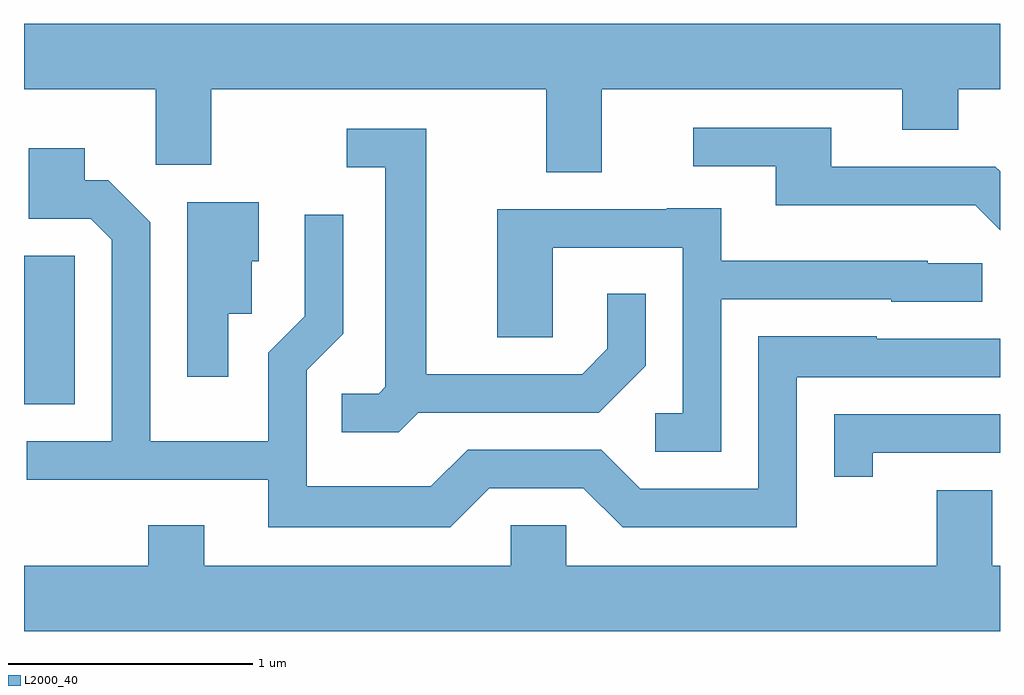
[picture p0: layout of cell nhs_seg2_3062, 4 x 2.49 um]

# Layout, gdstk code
import gdstk
lib = gdstk.Library(unit=1e-6, precision=1e-09)
def R(c, l, rs):  # rectangles x0, y0, x1, y1
    for r in rs: c.add(gdstk.rectangle(r[:2], r[2:], *l))
def P(c, l, *ps):  # polygons
    for p in ps: c.add(gdstk.Polygon(p, *l))
L2000_40 = (2000, 40)

nhs_seg2_3062 = lib.new_cell('nhs_seg2_3062')
R(nhs_seg2_3062, L2000_40, [(275.611,995.966,275.819,996.574)])
P(nhs_seg2_3062, L2000_40, [(277.979,997.256),(279.211,997.256),(279.211,997.091),(279.439,997.091),(279.439,997.256),(279.611,997.256),(279.611,997.524),(275.611,997.524),(275.611,997.256),(276.151,997.256),(276.151,996.946),(276.379,996.946),(276.379,997.256),(277.751,997.256),(277.751,996.916),(277.979,996.916)],
  [(279.611,996.92),(279.592,996.939),(278.919,996.939),(278.919,997.099),(278.353,997.099),(278.353,996.941),(278.691,996.941),(278.691,996.781),(279.509,996.781),(279.611,996.679)],
  [(277.227,995.931),(277.967,995.931),(278.159,996.124),(278.159,996.418),(278.001,996.418),(278.001,996.192),(277.899,996.089),(277.259,996.089),(277.259,997.094),(276.933,997.094),(276.933,996.936),(277.091,996.936),(277.091,996.037),(277.064,996.009),(276.913,996.009),(276.913,995.851),(277.147,995.851)],
  [(277.517,995.621),(277.904,995.621),(278.064,995.461),(278.779,995.461),(278.779,996.076),(279.611,996.076),(279.611,996.234),(279.105,996.234),(279.105,996.244),(278.621,996.244),(278.621,995.619),(278.137,995.619),(277.977,995.779),(277.429,995.779),(277.279,995.629),(276.769,995.629),(276.769,996.104),(276.919,996.254),(276.919,996.743),(276.761,996.743),(276.761,996.327),(276.611,996.177),(276.611,995.814),(276.129,995.814),(276.129,996.712),(275.957,996.884),(275.859,996.884),(275.859,997.014),(275.631,997.014),(275.631,996.726),(275.884,996.726),(275.971,996.639),(275.971,995.814),(275.623,995.814),(275.623,995.656),(276.611,995.656),(276.611,995.461),(277.357,995.461)],
  [(276.449,996.336),(276.544,996.336),(276.544,996.551),(276.574,996.551),(276.574,996.794),(276.281,996.794),(276.281,996.078),(276.449,996.078)],
  [(278.469,996.396),(279.165,996.396),(279.165,996.386),(279.538,996.386),(279.538,996.544),(279.315,996.544),(279.315,996.554),(278.469,996.554),(278.469,996.769),(278.245,996.769),(278.245,996.764),(277.551,996.764),(277.551,996.241),(277.779,996.241),(277.779,996.606),(278.311,996.606),(278.311,995.929),(278.198,995.929),(278.198,995.771),(278.469,995.771)],
  [(279.089,995.766),(279.611,995.766),(279.611,995.924),(278.931,995.924),(278.931,995.668),(279.089,995.668)],
  [(279.611,995.304),(279.579,995.304),(279.579,995.614),(279.351,995.614),(279.351,995.304),(277.834,995.304),(277.834,995.469),(277.606,995.469),(277.606,995.304),(276.349,995.304),(276.349,995.469),(276.121,995.469),(276.121,995.304),(275.611,995.304),(275.611,995.036),(279.611,995.036)])

lib.write_gds('nhs_seg2_3062.gds')
